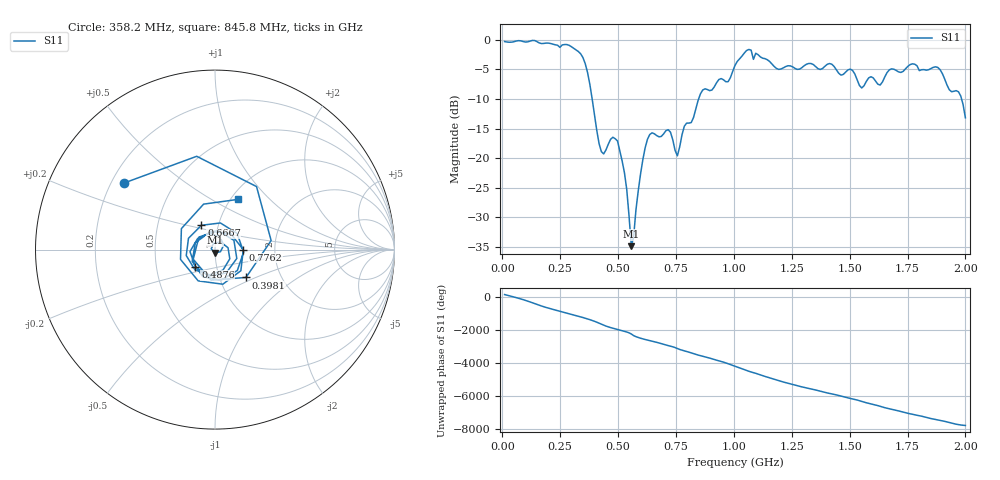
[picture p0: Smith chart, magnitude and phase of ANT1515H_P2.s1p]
!Created with skrf (http://scikit-rf.org).
# Hz S RI R 50.0
!freq ReS11 ImS11
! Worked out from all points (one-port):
!   201 points, 10 MHz to 2 GHz, reference 50 ohm
!   lowest |S11| = -34.9 dB at 557.2 MHz (marker M1), VSWR 1.04, Z = 49.8 - j1.79 ohm
!   |S11| at or under -10 dB: 388.2 MHz to 847.7 MHz (459.6 MHz wide, 74.4 % of centre); 1.984 GHz to end of sweep
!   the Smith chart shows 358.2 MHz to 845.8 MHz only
!   S11 on the Smith chart (normalised r, x): 358.2 MHz: 0.25, +0.31; 398.1 MHz: 1.34, -0.44; 487.6 MHz: 0.79, -0.16; 666.7 MHz: 0.83, +0.23; 776.1 MHz: 1.37, -0.00; 845.8 MHz: 1.08, +0.67
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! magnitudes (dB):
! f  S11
! 10 MHz  -0.3
! 258.8 MHz  -0.9
! 358.2 MHz  -4.0
! 398.1 MHz  -12.7
! 427.9 MHz  -18.9
! 487.6 MHz  -16.7
! 507.5 MHz  -18.8
! 537.4 MHz  -25.3
! 557.2 MHz  -34.9
! 617 MHz  -18.3
! 636.9 MHz  -16.0
! 666.7 MHz  -16.2
! 716.5 MHz  -15.2
! 756.2 MHz  -19.6
! 776.1 MHz  -16.0
! 845.8 MHz  -10.2
! 975.1 MHz  -7.1
! 1.005 GHz  -4.3
! 1.065 GHz  -1.6
! 1.085 GHz  -3.3
! 1.254 GHz  -4.6
! 1.502 GHz  -4.9
! 1.552 GHz  -8.1
! 1.751 GHz  -4.5
! 1.881 GHz  -4.7
! 1.93 GHz  -8.4
! 1.97 GHz  -8.8
! 2 GHz  -13.2
